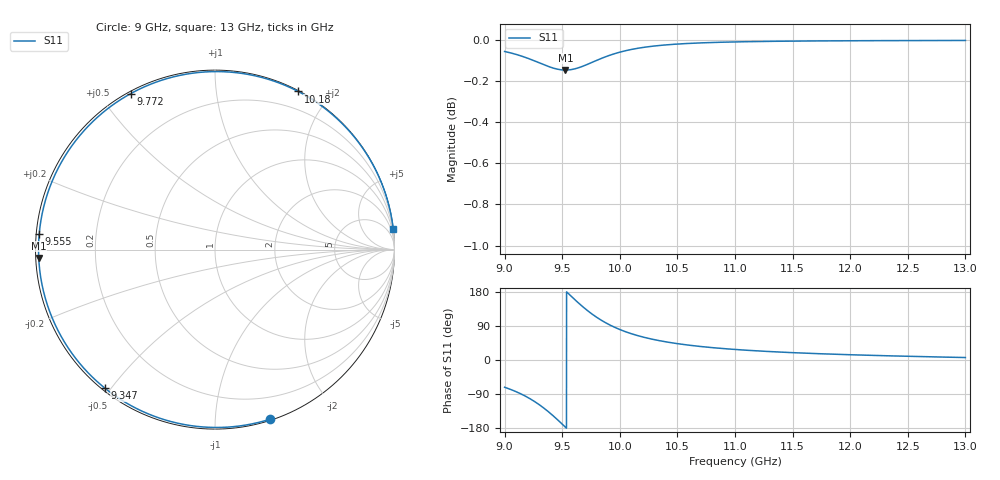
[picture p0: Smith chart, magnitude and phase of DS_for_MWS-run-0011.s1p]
! TOUCHSTONE file generated by CST DESIGN STUDIO
! Date and time: Tue Feb  4 15:55:19 2025
! Project name: C:\Work\MatlabApps\UnitCellOptimizationMatlab\CST\unitcell.cst
! Tree item: Tasks\Sweep1\SPara1\S-Parameters
! Header version: 2024
! Port assignment regex: !\s*Touchstone port\s*([0-9]+)\s*=\s*(CST MWS port|CST DES external port|CST DES block port)\s*(.+)\s* \(\"(.*)\"\)(\s*mode\s*([0-9]+))?.*
! Touchstone port assignment:
! Touchstone port 1 = CST DES external port 1 ("")
# GHz S MA R 50
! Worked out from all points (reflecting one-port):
!   4001 points, 9 GHz to 13 GHz, reference 50 ohm
!   lowest |S11| = -0.1 dB at 9.528 GHz (marker M1), VSWR 118.55, Z = 0.422 - j1.19 ohm
!   phase of S11 starts at -72 deg and turns -282 deg over the sweep
!   S11 on the Smith chart (normalised r, x): 9 GHz: 0.01, -1.38; 9.347 GHz: 0.01, -0.48; 9.555 GHz: 0.01, +0.04; 9.772 GHz: 0.01, +0.60; 10.18 GHz: 0.01, +1.65; 13 GHz: 0, +18
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9  0.9936 -71.9
9.097  0.992 -83.2
9.204  0.9897 -99.3
9.279  0.9878 -113.4
9.347  0.9861 -128.4
9.419  0.9844 -146.6
9.461  0.9837 -158.1
9.5  0.9834 -169.2
9.528  0.9833 -177.3
9.555  0.9833 174.9
9.609  0.9839 159.4
9.67  0.9852 142.8
9.721  0.9865 130.0
9.772  0.9879 118.4
9.82  0.9892 108.6
9.873  0.9905 99.0
9.932  0.9919 89.6
10  0.9932 80.4
10.086  0.9945 70.8
10.18  0.9956 62.3
10.326  0.9968 52.1
10.5  0.9977 43.1
10.721  0.9984 35.0
11  0.9989 27.8
11.5  0.9993 19.4
12  0.9995 13.9
12.5  0.9996 9.8
13  0.9997 6.5
